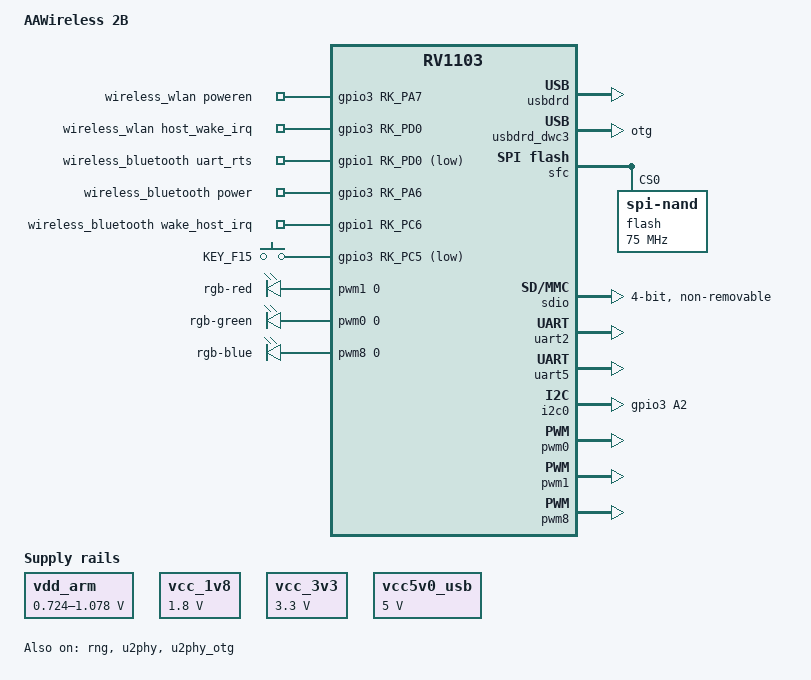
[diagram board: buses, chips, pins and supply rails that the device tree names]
// SPDX-License-Identifier: (GPL-2.0+ OR MIT)

/dts-v1/;

#include "rv1103.dtsi"
#include <dt-bindings/input/input.h>

/ {
	model = "AAWireless 2B";
	compatible = "rockchip,aaw2b", "rockchip,rv1103";

	chosen {
		bootargs =
				"rk_dma_heap_cma=8M console=ttyS2,115200 earlycon=uart8250,mmio32,0xff4c0000 net.ifnames=0 biosdevname=0 reboot=force";
	};

	vdd_arm: vdd-arm {
		compatible = "regulator-fixed";
		regulator-name = "vdd_arm";
		regulator-min-microvolt = <724000>;
		regulator-max-microvolt = <1078000>;
		regulator-init-microvolt = <950000>;
		regulator-always-on;
		regulator-boot-on;
		regulator-settling-time-up-us = <250>;
	};

	vcc_1v8: vcc-1v8 {
		compatible = "regulator-fixed";
		regulator-name = "vcc_1v8";
		regulator-always-on;
		regulator-boot-on;
		regulator-min-microvolt = <1800000>;
		regulator-max-microvolt = <1800000>;
	};

	vcc_3v3: vcc-3v3 {
		compatible = "regulator-fixed";
		regulator-name = "vcc_3v3";
		regulator-always-on;
		regulator-boot-on;
		regulator-min-microvolt = <3300000>;
		regulator-max-microvolt = <3300000>;
	};

	vcc5v0_usb: vcc5v0-usb {
		compatible = "regulator-fixed";
		regulator-name = "vcc5v0_usb";
		regulator-always-on;
		regulator-boot-on;
		regulator-min-microvolt = <5000000>;
		regulator-max-microvolt = <5000000>;
	};

	wireless_wlan: wireless-wlan {
		compatible = "wlan-platdata";
		wifi_chip_type = "rtl8233bs";
		pinctrl-names = "default";
		pinctrl-0 = <&wifi_enable &wifi_wake_host>;
		WIFI,poweren_gpio = <&gpio3 RK_PA7 GPIO_ACTIVE_HIGH>;
		WIFI,host_wake_irq = <&gpio3 RK_PD0 GPIO_ACTIVE_HIGH>;
		status = "okay";
	};

	wireless_bluetooth: wireless-bluetooth {
		compatible = "bluetooth-platdata";
		uart_rts_gpios = <&gpio1 RK_PD0 GPIO_ACTIVE_LOW>;
		BT,power_gpio = <&gpio3 RK_PA6 GPIO_ACTIVE_HIGH>;
		BT,wake_host_irq = <&gpio1 RK_PC6 GPIO_ACTIVE_HIGH>;
		pinctrl-names = "default", "rts_gpio";
		pinctrl-0 = <&uart5m1_rtsn &bluetooth_enable>;
		pinctrl-1 = <&uart5m1_rtsn_gpio &bluetooth_enable>;
		status = "okay";
	};

	gpio_keys: gpio-keys {
		compatible = "gpio-keys";
		status = "okay";

		F15 {
			gpios = <&gpio3 RK_PC5 GPIO_ACTIVE_LOW>;
			label = "KEY_F15";
			linux,code = <KEY_F15>;
			linux,input-type = <1>;
			gpio-key,wakeup = <1>;
			debounce-interval = <5>;
			pinctrl-names = "default";
			pinctrl-0 = <&pwrbtn>;
		};
	};

	pwm_leds: pwm-leds {
		compatible = "pwm-leds";
		status = "okay";

		led-red {
			label = "rgb-red";
			pwms = <&pwm1 0 1000000 0>;
			linux,default-trigger = "none";
		};

		led-green {
			label = "rgb-green";
			pwms = <&pwm0 0 1000000 0>;
			linux,default-trigger = "default-on";
		};

		led-blue {
			label = "rgb-blue";
			pwms = <&pwm8 0 1000000 0>;
			linux,default-trigger = "none";
		};
	};

	restart-poweroff {
		compatible = "restart-poweroff";
	};
};

&rng {
	status = "okay";
};

&u2phy {
	status = "okay";
};

&u2phy_otg {
	status = "okay";
	vbus-supply = <&vcc5v0_usb>;
	rockchip,vbus-always-on;
};

&usbdrd {
	status = "okay";
};

&usbdrd_dwc3 {
	extcon = <&u2phy>;
	dr_mode = "otg";
	status = "okay";
};

&cpu0 {
	cpu-supply = <&vdd_arm>;
};

&sfc {
	status = "okay";

	flash@0 {
		compatible = "spi-nand";
		reg = <0>;
		spi-max-frequency = <75000000>;
		spi-rx-bus-width = <4>;
		spi-tx-bus-width = <1>;
	};
};

&pinctrl {
	gpio {
		uart5m1_rtsn_gpio: uart5m1-rtsn-gpio {
			rockchip,pins = <1 RK_PD0 RK_FUNC_GPIO &pcfg_pull_none>;
		};

		mfi_reset: mfi-reset {
			rockchip,pins = <3 RK_PA2 RK_FUNC_GPIO &pcfg_pull_up>;
		};
	};

	wireless-wlan {
		wifi_enable: wifi-enable {
			rockchip,pins = <3 RK_PA7 RK_FUNC_GPIO &pcfg_pull_none>;
		};

		wifi_wake_host: wifi-wake-host {
			rockchip,pins = <3 RK_PD0 RK_FUNC_GPIO &pcfg_pull_up>;
		};
	};

	wireless-bluetooth {
		bluetooth_enable: bluetooth-enable {
			rockchip,pins = <3 RK_PA6 RK_FUNC_GPIO &pcfg_pull_none>;
		};
	};

	key {
		pwrbtn: pwrbtn {
			rockchip,pins = <3 RK_PC5 RK_FUNC_GPIO &pcfg_pull_up>;
		};
	};
};

&sdio {
	max-frequency = <200000000>;
	bus-width = <4>;
	cap-sd-highspeed;
	cap-sdio-irq;
	keep-power-in-suspend;
	non-removable;
	rockchip,default-sample-phase = <90>;
	sd-uhs-sdr104;
	supports-sdio;
	pinctrl-names = "default";
	pinctrl-0 = <&sdmmc1m1_cmd &sdmmc1m1_clk &sdmmc1m1_bus4>;
	status = "okay";
};

&uart2 {
	status = "okay";
};

&uart5 {
	pinctrl-names = "default";
	pinctrl-0 = <&uart5m1_xfer &uart5m1_ctsn>;
	status = "okay";
};

&gpio1 {
	status = "okay";
};

&gpio3 {
	status = "okay";
};

&i2c0 {
	status = "okay";
	pinctrl-names = "default";
	pinctrl-0 = <&i2c0m2_xfer &mfi_reset>;
};

&pwm0 {
	status = "okay";
};

&pwm1 {
	status = "okay";
};

&pwm8 {
	status = "okay";
};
